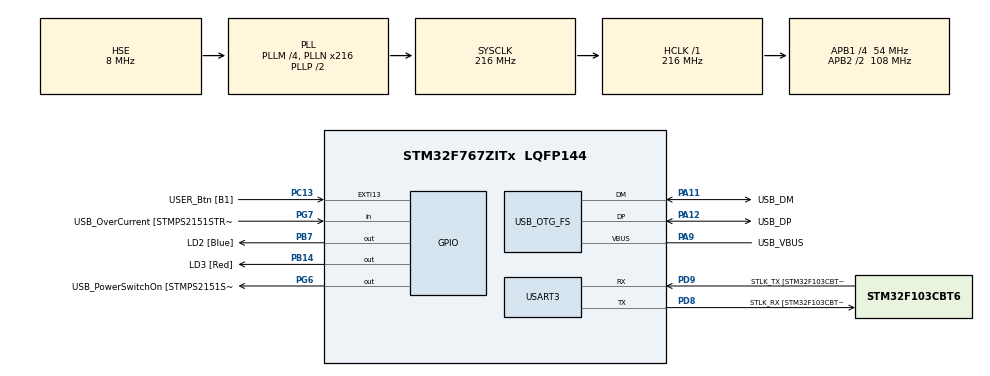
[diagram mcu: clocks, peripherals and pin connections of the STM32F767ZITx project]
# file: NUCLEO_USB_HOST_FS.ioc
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FATFS._MAX_SS=4096
Mcu.Family=STM32F7
Mcu.Name=STM32F767ZITx
Mcu.Package=LQFP144
NVIC.PriorityGroup=NVIC_PRIORITYGROUP_4
PA1.GPIO_Label=RMII_REF_CLK [LAN8742A-CZ-TR_REFCLK0]
PA1.Signal=ETH_REF_CLK
PA10.GPIO_Label=USB_ID
PA10.Signal=USB_OTG_FS_ID
PA11.GPIO_Label=USB_DM
PA11.Mode=Host_Only
PA11.Signal=USB_OTG_FS_DM
PA12.GPIO_Label=USB_DP
PA12.Mode=Host_Only
PA12.Signal=USB_OTG_FS_DP
PA13.GPIO_Label=TMS
PA13.Mode=Serial_Wire
PA13.Signal=SYS_JTMS-SWDIO
PA14.GPIO_Label=TCK
PA14.Mode=Serial_Wire
PA14.Signal=SYS_JTCK-SWCLK
PA2.GPIO_Label=RMII_MDIO [LAN8742A-CZ-TR_MDIO]
PA2.Signal=ETH_MDIO
PA7.GPIO_Label=RMII_CRS_DV [LAN8742A-CZ-TR_CRS_DV]
PA7.Signal=ETH_CRS_DV
PA8.GPIO_Label=USB_SOF [TP1]
PA8.Signal=USB_OTG_FS_SOF
PA9.GPIO_Label=USB_VBUS
PA9.Mode=Activate_VBUS
PA9.Signal=USB_OTG_FS_VBUS
PB13.GPIO_Label=RMII_TXD1 [LAN8742A-CZ-TR_TXD1]
PB13.Signal=ETH_TXD1
PB14.GPIO_Label=LD3 [Red]
PB14.Signal=GPIO_Output
PB3.GPIO_Label=SWO
PB3.Signal=SYS_JTDO-SWO
PB7.GPIO_Label=LD2 [Blue]
PB7.Signal=GPIO_Output
PC1.GPIO_Label=RMII_MDC [LAN8742A-CZ-TR_MDC]
PC1.Signal=ETH_MDC
PC13.GPIO_Label=USER_Btn [B1]
PC13.Signal=GPXTI13
PC14/OSC32_IN.Signal=RCC_OSC32_IN
PC15/OSC32_OUT.Signal=RCC_OSC32_OUT
PC4.GPIO_Label=RMII_RXD0 [LAN8742A-CZ-TR_RXD0]
PC4.Signal=ETH_RXD0
PC5.GPIO_Label=RMII_RXD1 [LAN8742A-CZ-TR_RXD1]
PC5.Signal=ETH_RXD1
PD8.GPIO_Label=STLK_RX [STM32F103CBT6_PA3]
PD8.Mode=Asynchronous
PD8.Signal=USART3_TX
PD9.GPIO_Label=STLK_TX [STM32F103CBT6_PA2]
PD9.Mode=Asynchronous
PD9.Signal=USART3_RX
PG11.GPIO_Label=RMII_TX_EN [LAN8742A-CZ-TR_TXEN]
PG11.Signal=ETH_TX_EN
PG13.GPIO_Label=RMII_TXD0 [LAN8742A-CZ-TR_TXD0]
PG13.Signal=ETH_TXD0
PG6.GPIO_Label=USB_PowerSwitchOn [STMPS2151STR_EN]
PG6.Signal=GPIO_Output
PG7.GPIO_Label=USB_OverCurrent [STMPS2151STR_FAULT]
PG7.Signal=GPIO_Input
PH0/OSC_IN.GPIO_Label=MCO [STM32F103CBT6_PA8]
PH0/OSC_IN.Mode=HSE-External-Clock-Source
PH0/OSC_IN.Signal=RCC_OSC_IN
PH1/OSC_OUT.Mode=HSE-External-Clock-Source
PH1/OSC_OUT.Signal=RCC_OSC_OUT
ProjectManager.HeapSize=0x2000
ProjectManager.StackSize=0x4000
ProjectManager.TargetToolchain=TrueSTUDIO
RCC.48MHZClocksFreq_Value=24000000
RCC.AHBFreq_Value=216000000
RCC.APB1CLKDivider=RCC_HCLK_DIV4
RCC.APB1Freq_Value=54000000
RCC.APB1TimFreq_Value=108000000
RCC.APB2CLKDivider=RCC_HCLK_DIV2
RCC.APB2Freq_Value=108000000
RCC.APB2TimFreq_Value=216000000
RCC.CortexFreq_Value=216000000
RCC.HCLKFreq_Value=216000000
RCC.HSE_VALUE=8000000
RCC.HSI_VALUE=16000000
RCC.PLLM=4
RCC.PLLMUL=RCC_PLL_MUL9
RCC.PLLN=216
RCC.PLLQ=9
RCC.PRESCALERUSB=RCC_USBCLKSOURCE_PLL_DIV1_5
RCC.SYSCLKFreq_VALUE=216000000
RCC.SYSCLKSource=RCC_SYSCLKSOURCE_PLLCLK
RCC.SYSCLKSourceVirtual=RCC_SYSCLKSOURCE_PLLCLK
RCC.USBFreq_Value=48000000
RCC.VCOOutputFreq_Value=432000000
USART3.VirtualMode-Asynchronous=VM_ASYNC
USB_HOST.USBH_HandleTypeDef-MSC_FS=hUsbHostFS
USB_HOST.VirtualModeFS=Msc
USB_OTG_FS.VirtualMode=Host_Only
USB_OTG_FS.phy_itface=HCD_PHY_EMBEDDED
VP_FATFS_VS_USB.Mode=USB
VP_USB_HOST_VS_USB_HOST_MSC_FS.Mode=MSC_FS
board=NUCLEO-F767ZI

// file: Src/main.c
/* USER CODE BEGIN Header */
/**
  ******************************************************************************
  * @file           : main.c
  * @brief          : Main program body
  ******************************************************************************
  * @attention
  *
  * <h2><center>&copy; Copyright (c) 2019 STMicroelectronics.
  * All rights reserved.</center></h2>
  *
  * This software component is licensed by ST under Ultimate Liberty license
  * SLA0044, the "License"; You may not use this file except in compliance with
  * the License. You may obtain a copy of the License at:
  *                             www.st.com/SLA0044
  *
  ******************************************************************************
  */
/* USER CODE END Header */

#include "main.h"
#include "fatfs.h"
#include "usb_host.h"

UART_HandleTypeDef huart3;

/* USER CODE BEGIN PV */
extern ApplicationTypeDef Appli_state;
FATFS USBDISKFatFS;
FIL MyFile;
//extern USBHPath;
extern USBH_HandleTypeDef hUsbHostFS;
/* USER CODE END PV */

void SystemClock_Config(void);
static void MX_GPIO_Init(void);
static void MX_USART3_UART_Init(void);
void MX_USB_HOST_Process(void);

/* USER CODE BEGIN 0 */
void FileReadWrite(void)
{
	HAL_GPIO_WritePin(LD2_GPIO_Port, LD2_Pin, SET);
}
/* USER CODE END 0 */

int main(void)
{

  /* MCU Configuration--------------------------------------------------------*/

  /* Reset of all peripherals, Initializes the Flash interface and the Systick. */
  HAL_Init();

  /* Configure the system clock */
  SystemClock_Config();

  /* Initialize all configured peripherals */
  MX_GPIO_Init();
  HAL_GPIO_WritePin(USB_PowerSwitchOn_GPIO_Port, USB_PowerSwitchOn_Pin, SET);
  MX_USART3_UART_Init();
  MX_USB_HOST_Init();
  MX_FATFS_Init();
  /* USER CODE BEGIN 2 */

  HAL_GPIO_WritePin(LD2_GPIO_Port, LD2_Pin, SET);
  HAL_GPIO_WritePin(LD3_GPIO_Port, LD3_Pin, SET);
  HAL_Delay(2000);
  HAL_GPIO_WritePin(LD2_GPIO_Port, LD2_Pin, RESET);
  HAL_GPIO_WritePin(LD3_GPIO_Port, LD3_Pin, RESET);
  /* USER CODE END 2 */

  /* Infinite loop */
  while (1)
  {
    MX_USB_HOST_Process();

    /* USER CODE BEGIN 3 */
    if(Appli_state==APPLICATION_START)
    {
    	FileReadWrite();
    	Appli_state = APPLICATION_IDLE;
    }
    else if(Appli_state==APPLICATION_IDLE)
    {

    }
  }
  /* USER CODE END 3 */
}

void SystemClock_Config(void)
{
  RCC_OscInitTypeDef RCC_OscInitStruct = {0};
  RCC_ClkInitTypeDef RCC_ClkInitStruct = {0};
  RCC_PeriphCLKInitTypeDef PeriphClkInitStruct = {0};

  /** Configure the main internal regulator output voltage
  */
  __HAL_RCC_PWR_CLK_ENABLE();
  __HAL_PWR_VOLTAGESCALING_CONFIG(PWR_REGULATOR_VOLTAGE_SCALE1);
  /** Initializes the CPU, AHB and APB busses clocks
  */
  RCC_OscInitStruct.OscillatorType = RCC_OSCILLATORTYPE_HSE;
  RCC_OscInitStruct.HSEState = RCC_HSE_BYPASS;
  RCC_OscInitStruct.PLL.PLLState = RCC_PLL_ON;
  RCC_OscInitStruct.PLL.PLLSource = RCC_PLLSOURCE_HSE;
  RCC_OscInitStruct.PLL.PLLM = 4;
  RCC_OscInitStruct.PLL.PLLN = 216;
  RCC_OscInitStruct.PLL.PLLP = RCC_PLLP_DIV2;
  RCC_OscInitStruct.PLL.PLLQ = 9;
  if (HAL_RCC_OscConfig(&RCC_OscInitStruct) != HAL_OK)
  {
    Error_Handler();
  }
  /** Activate the Over-Drive mode
  */
  if (HAL_PWREx_EnableOverDrive() != HAL_OK)
  {
    Error_Handler();
  }
  /** Initializes the CPU, AHB and APB busses clocks
  */
  RCC_ClkInitStruct.ClockType = RCC_CLOCKTYPE_HCLK|RCC_CLOCKTYPE_SYSCLK
                              |RCC_CLOCKTYPE_PCLK1|RCC_CLOCKTYPE_PCLK2;
  RCC_ClkInitStruct.SYSCLKSource = RCC_SYSCLKSOURCE_PLLCLK;
  RCC_ClkInitStruct.AHBCLKDivider = RCC_SYSCLK_DIV1;
  RCC_ClkInitStruct.APB1CLKDivider = RCC_HCLK_DIV4;
  RCC_ClkInitStruct.APB2CLKDivider = RCC_HCLK_DIV2;

  if (HAL_RCC_ClockConfig(&RCC_ClkInitStruct, FLASH_LATENCY_7) != HAL_OK)
  {
    Error_Handler();
  }
  PeriphClkInitStruct.PeriphClockSelection = RCC_PERIPHCLK_USART3|RCC_PERIPHCLK_CLK48;
  PeriphClkInitStruct.Usart3ClockSelection = RCC_USART3CLKSOURCE_PCLK1;
  PeriphClkInitStruct.Clk48ClockSelection = RCC_CLK48SOURCE_PLL;
  if (HAL_RCCEx_PeriphCLKConfig(&PeriphClkInitStruct) != HAL_OK)
  {
    Error_Handler();
  }
}

static void MX_USART3_UART_Init(void)
{

  huart3.Instance = USART3;
  huart3.Init.BaudRate = 115200;
  huart3.Init.WordLength = UART_WORDLENGTH_8B;
  huart3.Init.StopBits = UART_STOPBITS_1;
  huart3.Init.Parity = UART_PARITY_NONE;
  huart3.Init.Mode = UART_MODE_TX_RX;
  huart3.Init.HwFlowCtl = UART_HWCONTROL_NONE;
  huart3.Init.OverSampling = UART_OVERSAMPLING_16;
  huart3.Init.OneBitSampling = UART_ONE_BIT_SAMPLE_DISABLE;
  huart3.AdvancedInit.AdvFeatureInit = UART_ADVFEATURE_NO_INIT;
  if (HAL_UART_Init(&huart3) != HAL_OK)
  {
    Error_Handler();
  }

}

static void MX_GPIO_Init(void)
{
  GPIO_InitTypeDef GPIO_InitStruct = {0};

  /* GPIO Ports Clock Enable */
  __HAL_RCC_GPIOC_CLK_ENABLE();
  __HAL_RCC_GPIOH_CLK_ENABLE();
  __HAL_RCC_GPIOA_CLK_ENABLE();
  __HAL_RCC_GPIOB_CLK_ENABLE();
  __HAL_RCC_GPIOD_CLK_ENABLE();
  __HAL_RCC_GPIOG_CLK_ENABLE();

  /*Configure GPIO pin Output Level */
  HAL_GPIO_WritePin(GPIOB, LD3_Pin|LD2_Pin, GPIO_PIN_RESET);

  /*Configure GPIO pin Output Level */
  HAL_GPIO_WritePin(USB_PowerSwitchOn_GPIO_Port, USB_PowerSwitchOn_Pin, GPIO_PIN_RESET);

  /*Configure GPIO pin : USER_Btn_Pin */
  GPIO_InitStruct.Pin = USER_Btn_Pin;
  GPIO_InitStruct.Mode = GPIO_MODE_IT_RISING;
  GPIO_InitStruct.Pull = GPIO_NOPULL;
  HAL_GPIO_Init(USER_Btn_GPIO_Port, &GPIO_InitStruct);

  /*Configure GPIO pins : RMII_MDC_Pin RMII_RXD0_Pin RMII_RXD1_Pin */
  GPIO_InitStruct.Pin = RMII_MDC_Pin|RMII_RXD0_Pin|RMII_RXD1_Pin;
  GPIO_InitStruct.Mode = GPIO_MODE_AF_PP;
  GPIO_InitStruct.Pull = GPIO_NOPULL;
  GPIO_InitStruct.Speed = GPIO_SPEED_FREQ_VERY_HIGH;
  GPIO_InitStruct.Alternate = GPIO_AF11_ETH;
  HAL_GPIO_Init(GPIOC, &GPIO_InitStruct);

  /*Configure GPIO pins : RMII_REF_CLK_Pin RMII_MDIO_Pin RMII_CRS_DV_Pin */
  GPIO_InitStruct.Pin = RMII_REF_CLK_Pin|RMII_MDIO_Pin|RMII_CRS_DV_Pin;
  GPIO_InitStruct.Mode = GPIO_MODE_AF_PP;
  GPIO_InitStruct.Pull = GPIO_NOPULL;
  GPIO_InitStruct.Speed = GPIO_SPEED_FREQ_VERY_HIGH;
  GPIO_InitStruct.Alternate = GPIO_AF11_ETH;
  HAL_GPIO_Init(GPIOA, &GPIO_InitStruct);

  /*Configure GPIO pin : RMII_TXD1_Pin */
  GPIO_InitStruct.Pin = RMII_TXD1_Pin;
  GPIO_InitStruct.Mode = GPIO_MODE_AF_PP;
  GPIO_InitStruct.Pull = GPIO_NOPULL;
  GPIO_InitStruct.Speed = GPIO_SPEED_FREQ_VERY_HIGH;
  GPIO_InitStruct.Alternate = GPIO_AF11_ETH;
  HAL_GPIO_Init(RMII_TXD1_GPIO_Port, &GPIO_InitStruct);

  /*Configure GPIO pins : LD3_Pin LD2_Pin */
  GPIO_InitStruct.Pin = LD3_Pin|LD2_Pin;
  GPIO_InitStruct.Mode = GPIO_MODE_OUTPUT_PP;
  GPIO_InitStruct.Pull = GPIO_NOPULL;
  GPIO_InitStruct.Speed = GPIO_SPEED_FREQ_LOW;
  HAL_GPIO_Init(GPIOB, &GPIO_InitStruct);

  /*Configure GPIO pin : USB_PowerSwitchOn_Pin */
  GPIO_InitStruct.Pin = USB_PowerSwitchOn_Pin;
  GPIO_InitStruct.Mode = GPIO_MODE_OUTPUT_PP;
  GPIO_InitStruct.Pull = GPIO_NOPULL;
  GPIO_InitStruct.Speed = GPIO_SPEED_FREQ_LOW;
  HAL_GPIO_Init(USB_PowerSwitchOn_GPIO_Port, &GPIO_InitStruct);

  /*Configure GPIO pin : USB_OverCurrent_Pin */
  GPIO_InitStruct.Pin = USB_OverCurrent_Pin;
  GPIO_InitStruct.Mode = GPIO_MODE_INPUT;
  GPIO_InitStruct.Pull = GPIO_NOPULL;
  HAL_GPIO_Init(USB_OverCurrent_GPIO_Port, &GPIO_InitStruct);

  /*Configure GPIO pins : RMII_TX_EN_Pin RMII_TXD0_Pin */
  GPIO_InitStruct.Pin = RMII_TX_EN_Pin|RMII_TXD0_Pin;
  GPIO_InitStruct.Mode = GPIO_MODE_AF_PP;
  GPIO_InitStruct.Pull = GPIO_NOPULL;
  GPIO_InitStruct.Speed = GPIO_SPEED_FREQ_VERY_HIGH;
  GPIO_InitStruct.Alternate = GPIO_AF11_ETH;
  HAL_GPIO_Init(GPIOG, &GPIO_InitStruct);

}

void Error_Handler(void)
{
}

/************************ (C) COPYRIGHT STMicroelectronics *****END OF FILE****/
